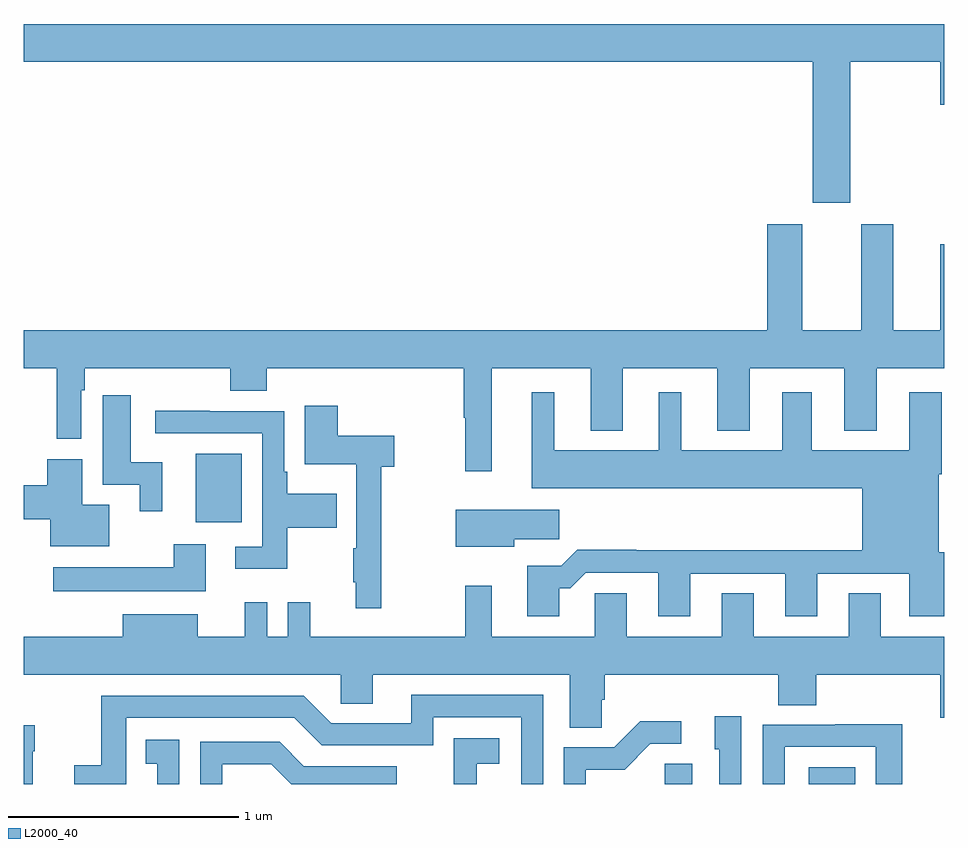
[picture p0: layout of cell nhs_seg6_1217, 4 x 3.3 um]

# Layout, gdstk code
import gdstk
lib = gdstk.Library(unit=1e-6, precision=1e-09)
def R(c, l, rs):  # rectangles x0, y0, x1, y1
    for r in rs: c.add(gdstk.rectangle(r[:2], r[2:], *l))
def P(c, l, *ps):  # polygons
    for p in ps: c.add(gdstk.Polygon(p, *l))
L2000_40 = (2000, 40)

nhs_seg6_1217 = lib.new_cell('nhs_seg6_1217')
R(nhs_seg6_1217, L2000_40, [(187.785,973.5,187.906,973.589), (188.411,973.5,188.614,973.573), (185.747,974.639,185.947,974.935)])
P(nhs_seg6_1217, L2000_40, [(188.593,976.64),(188.984,976.64),(188.984,976.452),(189,976.452),(189,976.804),(185,976.804),(185,976.64),(188.429,976.64),(188.429,976.026),(188.593,976.026)],
  [(187.033,975.308),(187.463,975.308),(187.463,975.035),(187.603,975.035),(187.603,975.308),(188.015,975.308),(188.015,975.035),(188.155,975.035),(188.155,975.308),(188.567,975.308),(188.567,975.035),(188.707,975.035),(188.707,975.308),(189,975.308),(189,975.847),(188.984,975.847),(188.984,975.472),(188.779,975.472),(188.779,975.934),(188.639,975.934),(188.639,975.472),(188.383,975.472),(188.383,975.934),(188.231,975.934),(188.231,975.472),(185,975.472),(185,975.308),(185.142,975.308),(185.142,975),(185.25,975),(185.25,975.212),(185.265,975.212),(185.265,975.308),(185.896,975.308),(185.896,975.209),(186.056,975.209),(186.056,975.308),(186.912,975.308),(186.912,975.092),(186.919,975.092),(186.919,974.859),(187.033,974.859)],
  [(187.327,974.351),(187.376,974.351),(187.443,974.418),(187.757,974.418),(187.757,974.229),(187.897,974.229),(187.897,974.415),(188.309,974.415),(188.309,974.229),(188.449,974.229),(188.449,974.415),(188.849,974.415),(188.849,974.229),(189,974.229),(189,974.508),(188.977,974.508),(188.977,974.846),(188.99,974.846),(188.99,975.202),(188.849,975.202),(188.849,974.95),(188.425,974.95),(188.425,975.202),(188.297,975.202),(188.297,974.95),(187.858,974.95),(187.858,975.202),(187.76,975.202),(187.76,974.95),(187.306,974.95),(187.306,975.202),(187.208,975.202),(187.208,974.786),(188.645,974.786),(188.645,974.516),(187.661,974.516),(187.661,974.519),(187.406,974.519),(187.336,974.449),(187.187,974.449),(187.187,974.229),(187.327,974.229)],
  [(185.602,974.898),(185.464,974.898),(185.464,975.19),(185.343,975.19),(185.343,975.077),(185.342,975.077),(185.342,974.802),(185.504,974.802),(185.504,974.685),(185.602,974.685)],
  [(186.553,974.879),(186.61,974.879),(186.61,975.013),(186.365,975.013),(186.365,975.145),(186.221,975.145),(186.221,974.891),(186.444,974.891),(186.444,974.525),(186.432,974.525),(186.432,974.377),(186.443,974.377),(186.443,974.265),(186.553,974.265)],
  [(186.145,974.614),(186.359,974.614),(186.359,974.761),(186.145,974.761),(186.145,974.857),(186.132,974.857),(186.132,975.12),(185.807,975.12),(185.807,975.122),(185.571,975.122),(185.571,975.024),(186.036,975.024),(186.036,974.532),(185.919,974.532),(185.919,974.435),(186.145,974.435)],
  [(185.371,974.713),(185.254,974.713),(185.254,974.911),(185.102,974.911),(185.102,974.798),(185,974.798),(185,974.651),(185.114,974.651),(185.114,974.534),(185.371,974.534)],
  [(187.132,974.563),(187.327,974.563),(187.327,974.692),(186.878,974.692),(186.878,974.531),(187.132,974.531)],
  [(185.791,974.542),(185.651,974.542),(185.651,974.443),(185.127,974.443),(185.127,974.339),(185.791,974.339)],
  [(188.279,973.843),(188.444,973.843),(188.444,973.976),(188.984,973.976),(188.984,973.788),(189,973.788),(189,974.14),(188.725,974.14),(188.725,974.33),(188.585,974.33),(188.585,974.14),(188.173,974.14),(188.173,974.33),(188.033,974.33),(188.033,974.14),(187.621,974.14),(187.621,974.33),(187.482,974.33),(187.482,974.14),(187.033,974.14),(187.033,974.362),(186.919,974.362),(186.919,974.14),(186.245,974.14),(186.245,974.29),(186.147,974.29),(186.147,974.14),(186.057,974.14),(186.057,974.29),(185.96,974.29),(185.96,974.14),(185.755,974.14),(185.755,974.239),(185.429,974.239),(185.429,974.14),(185,974.14),(185,973.976),(186.378,973.976),(186.378,973.849),(186.517,973.849),(186.517,973.976),(187.373,973.976),(187.373,973.744),(187.512,973.744),(187.512,973.867),(187.526,973.867),(187.526,973.976),(188.279,973.976)],
  [(185.445,973.788),(186.174,973.788),(186.294,973.668),(186.78,973.668),(186.78,973.791),(187.161,973.791),(187.161,973.5),(187.257,973.5),(187.257,973.887),(186.683,973.887),(186.683,973.764),(186.336,973.764),(186.216,973.884),(185.337,973.884),(185.337,973.582),(185.219,973.582),(185.219,973.5),(185.445,973.5)],
  [(188.118,973.795),(188.003,973.795),(188.003,973.65),(188.022,973.65),(188.022,973.5),(188.118,973.5)],
  [(187.443,973.563),(187.612,973.563),(187.723,973.674),(187.858,973.674),(187.858,973.772),(187.679,973.772),(187.566,973.659),(187.347,973.659),(187.347,973.5),(187.443,973.5)],
  [(188.307,973.662),(188.703,973.662),(188.703,973.5),(188.819,973.5),(188.819,973.76),(188.527,973.76),(188.527,973.758),(188.211,973.758),(188.211,973.5),(188.307,973.5)],
  [(185.038,973.643),(185.046,973.643),(185.046,973.756),(185,973.756),(185,973.5),(185.038,973.5)],
  [(186.968,973.589),(187.066,973.589),(187.066,973.699),(186.868,973.699),(186.868,973.5),(186.968,973.5)],
  [(185.676,973.693),(185.53,973.693),(185.53,973.587),(185.579,973.587),(185.579,973.5),(185.676,973.5)],
  [(185.862,973.586),(186.076,973.586),(186.162,973.5),(186.621,973.5),(186.621,973.578),(186.217,973.578),(186.112,973.683),(185.766,973.683),(185.766,973.5),(185.862,973.5)])

lib.write_gds('nhs_seg6_1217.gds')
